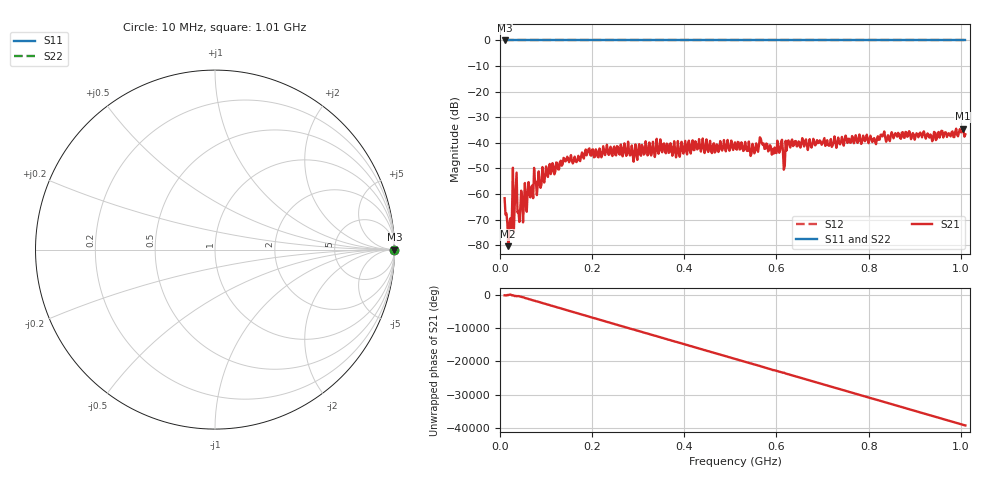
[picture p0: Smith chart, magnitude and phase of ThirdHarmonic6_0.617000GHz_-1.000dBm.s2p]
! 8/15/2025 8:16:26 PM
! C:\ANRITSUVNA\TEMP\TEMP.S2P
! CHANNEL.1
! TR.MEASUREMENT
! RAW.DATA
! RF.CORRECTION.OFF
! AVERAGING.OFF
! IF.BANDWIDTH: 5KHZ
! SWEEPTYPE:  FREQ.SWEEP(Linear)
! Reference Plane Port Info
! PORT:  PORT1  PORT2
! DISTANCE:  0  m  0  m
! TIME:  0  s  0  s
! PHASE.OFFSET:  0  deg.  0  deg.
! LOSS:  0  dB  0  dB
! REF.LOSS:  0  dB  0  dB
! REF.FREQ:  0  Hz  0  Hz
! Power Info
! POWER:  -20  dBm  -20  dBm
! EFF.POWER:  -20  dBm  -20  dBm
! SOURCE.ATTEN:  0  dB  0  dB
! TEST.ATTEN:  0  dB  0  dB
# GHZ S RI R 50.0
! FREQ.GHZ  S11RE  S11IM  S21RE  S21IM  S12RE  S12IM  S22RE  S22IM
!; PortSelection: Port_12
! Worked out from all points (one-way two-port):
!   501 points, 10 MHz to 1.01 GHz, reference 50 ohm
!   highest |S21| = -34.46 dB at 1.004 GHz (marker M1); lowest = -80.3 dB at 18 MHz (marker M2)
!   lowest |S11| = 0.0 dB at 10 MHz (marker M3)
!   |S11| at or under -10 dB: nowhere
!   |S22| runs from 0.0 to 0.0 dB; largest |S21 - S12| = 1
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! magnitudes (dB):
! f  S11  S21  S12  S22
! 10 MHz  0.0  -61.6  0.0  0.0
! 18 MHz  0.0  -80.3  0.0  0.0
! 22 MHz  0.0  -69.5  0.0  0.0
! 24 MHz  0.0  -73.4  0.0  0.0
! 28 MHz  0.0  -49.7  0.0  0.0
! 32 MHz  0.0  -64.3  0.0  0.0
! 34 MHz  0.0  -57.8  0.0  0.0
! 46 MHz  0.0  -58.7  0.0  0.0
! 72 MHz  0.0  -61.6  0.0  0.0
! 104 MHz  0.0  -53.3  0.0  0.0
! 178 MHz  0.0  -43.8  0.0  0.0
! 344 MHz  0.0  -44.2  0.0  0.0
! 510 MHz  0.0  -39.8  0.0  0.0
! 548 MHz  0.0  -40.4  0.0  0.0
! 568 MHz  0.0  -40.1  0.0  0.0
! 608 MHz  0.0  -42.8  0.0  0.0
! 618 MHz  0.0  -49.0  0.0  0.0
! 624 MHz  0.0  -39.8  0.0  0.0
! 678 MHz  0.0  -40.6  0.0  0.0
! 844 MHz  0.0  -38.0  0.0  0.0
! 1.004 GHz  0.0  -34.5  0.0  0.0
! 1.01 GHz  0.0  -36.7  0.0  0.0
